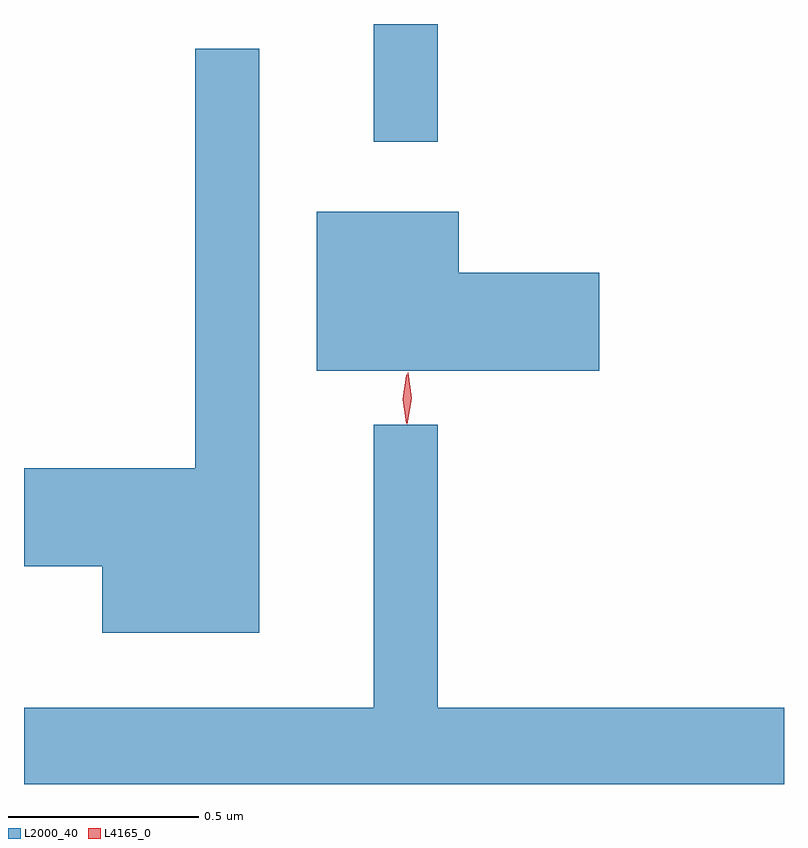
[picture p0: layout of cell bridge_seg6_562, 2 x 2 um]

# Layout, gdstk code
import gdstk
lib = gdstk.Library(unit=1e-6, precision=1e-09)
def R(c, l, rs):  # rectangles x0, y0, x1, y1
    for r in rs: c.add(gdstk.rectangle(r[:2], r[2:], *l))
def P(c, l, *ps):  # polygons
    for p in ps: c.add(gdstk.Polygon(p, *l))
L2000_40 = (2000, 40)
L4165_0 = (4165, 0)

bridge_seg6_562 = lib.new_cell('bridge_seg6_562')
R(bridge_seg6_562, L2000_40, [(598.591,1662.793,598.759,1663.103)])
P(bridge_seg6_562, L2000_40, [(598.289,1663.038),(598.121,1663.038),(598.121,1661.934),(597.67,1661.934),(597.67,1661.676),(597.876,1661.676),(597.876,1661.501),(598.289,1661.501)],
  [(599.184,1662.449),(598.814,1662.449),(598.814,1662.609),(598.441,1662.609),(598.441,1662.191),(599.184,1662.191)],
  [(599.67,1661.304),(598.759,1661.304),(598.759,1662.048),(598.591,1662.048),(598.591,1661.304),(597.67,1661.304),(597.67,1661.103),(599.67,1661.103)])
P(bridge_seg6_562, L4165_0, [(598.678,1662.05),(598.67,1662.118),(598.68,1662.185),(598.681,1662.186),(598.681,1662.185),(598.69,1662.118),(598.679,1662.05),(598.679,1662.05)],
  [(598.676,1662.053),(598.667,1662.116),(598.676,1662.179),(598.677,1662.18),(598.677,1662.179),(598.687,1662.116),(598.677,1662.053),(598.677,1662.053)])

lib.write_gds('bridge_seg6_562.gds')
